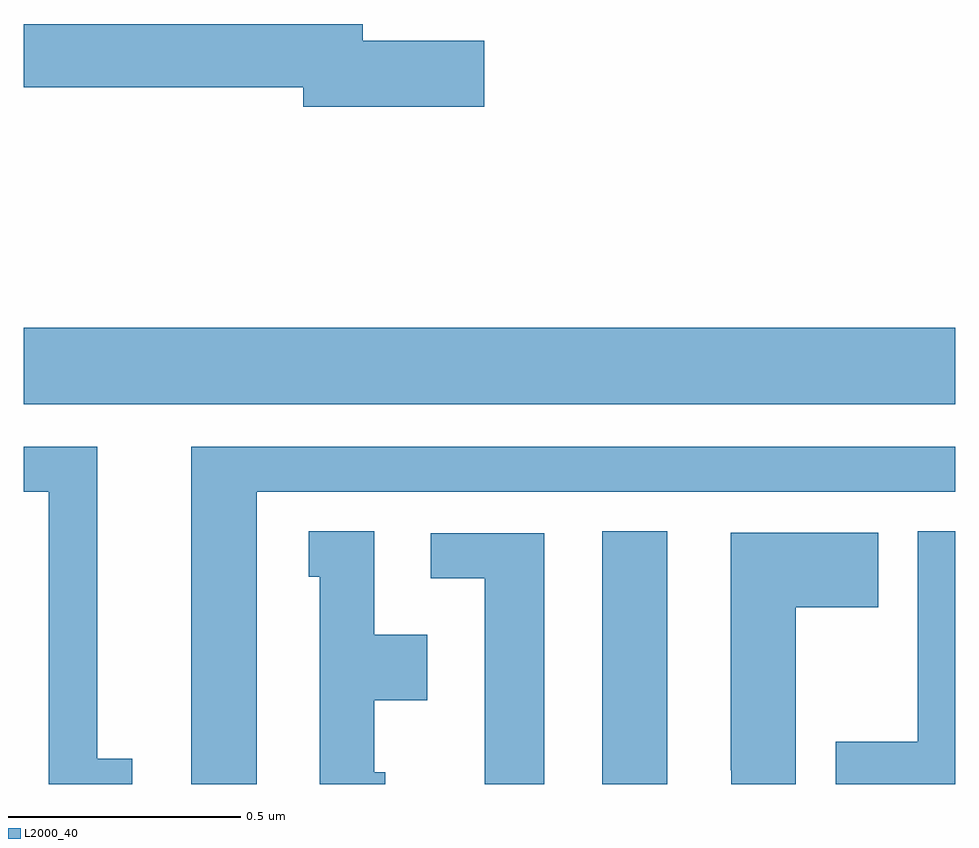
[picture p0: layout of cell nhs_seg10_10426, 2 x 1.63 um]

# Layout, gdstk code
import gdstk
lib = gdstk.Library(unit=1e-6, precision=1e-09)
def R(c, l, rs):  # rectangles x0, y0, x1, y1
    for r in rs: c.add(gdstk.rectangle(r[:2], r[2:], *l))
def P(c, l, *ps):  # polygons
    for p in ps: c.add(gdstk.Polygon(p, *l))
L2000_40 = (2000, 40)

nhs_seg10_10426 = lib.new_cell('nhs_seg10_10426')
R(nhs_seg10_10426, L2000_40, [(243.242,1299.5,243.382,1300.043), (242,1300.316,244,1300.48)])
P(nhs_seg10_10426, L2000_40, [(242.989,1301.096),(242.728,1301.096),(242.728,1301.132),(242,1301.132),(242,1300.996),(242.6,1300.996),(242.6,1300.954),(242.989,1300.954)],
  [(242.233,1299.554),(242.158,1299.554),(242.158,1300.224),(242,1300.224),(242,1300.128),(242.054,1300.128),(242.054,1299.5),(242.233,1299.5)],
  [(242.5,1300.128),(244,1300.128),(244,1300.224),(242.36,1300.224),(242.36,1299.5),(242.5,1299.5)],
  [(242.776,1299.525),(242.752,1299.525),(242.752,1299.68),(242.866,1299.68),(242.866,1299.82),(242.752,1299.82),(242.752,1300.043),(242.612,1300.043),(242.612,1299.945),(242.636,1299.945),(242.636,1299.5),(242.776,1299.5)],
  [(244,1300.043),(243.92,1300.043),(243.92,1299.591),(243.743,1299.591),(243.743,1299.5),(244,1299.5)],
  [(243.658,1299.88),(243.835,1299.88),(243.835,1300.039),(243.518,1300.039),(243.518,1299.529),(243.519,1299.529),(243.519,1299.5),(243.658,1299.5)],
  [(243.118,1300.038),(242.874,1300.038),(242.874,1299.942),(242.99,1299.942),(242.99,1299.5),(243.118,1299.5)])

lib.write_gds('nhs_seg10_10426.gds')
